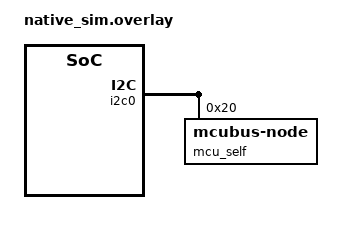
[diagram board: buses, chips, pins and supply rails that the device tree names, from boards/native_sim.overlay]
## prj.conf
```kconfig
# Copyright (c) 2026 Christoph Jans <jans.christoph@gmail.com>
# SPDX-License-Identifier: Apache-2.0

CONFIG_ZTEST=y
CONFIG_I2C=y
CONFIG_FLASH=y
CONFIG_FLASH_MAP=y
CONFIG_NVS=y
CONFIG_SETTINGS=y
CONFIG_SETTINGS_NVS=y
CONFIG_MCUBUS_SETTINGS=y
CONFIG_ZTEST_STACK_SIZE=2048
CONFIG_SYSTEM_WORKQUEUE_STACK_SIZE=2048
```

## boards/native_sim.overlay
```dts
/*
 * Copyright (c) 2026 Christoph Jans <jans.christoph@gmail.com>
 *
 * SPDX-License-Identifier: Apache-2.0
 */

/* One MCU alone on the bus: requests to itself, raw transfers to its own target
 * (the emulated port can address it), and NACKs from an empty address. A bus-id
 * of its own, so that the samples (bus 0 and 1) do not get in the way.
 */

/ {
	chosen {
		zephyr,mcubus-self = &mcu_self;
	};
};

&i2c0 {
	compatible = "zephyr,i2c-mm-emul";
	bus-id = <42>;
	loopback;

	mcu_self: mcu@20 {
		compatible = "zephyr,mcubus-node";
		reg = <0x20>;
	};
};
```

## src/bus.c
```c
/*
 * Copyright (c) 2026 Christoph Jans <jans.christoph@gmail.com>
 *
 * SPDX-License-Identifier: Apache-2.0
 *
 * The mcubus under faults, and its ping service. The emulated port can address
 * its own target (`loopback`), so these tests send raw transfers to this MCU's target, over
 * the bus and through its interrupt: what a broken or foreign controller could
 * send, and what a controller that lost its place leaves behind. A test service
 * counts how often a request really ran; another one echoes what it got.
 */

#include <string.h>
#include <zephyr/drivers/i2c.h>
#include <zephyr/sys/atomic.h>
#include <zephyr/ztest.h>

#include <drivers/i2c/i2c_mm_emul.h>
#include <mcubus/mcubus.h>
#include <mcubus/ping.h>

#define ADDR       DT_REG_ADDR(MCUBUS_SELF)
#define I2C_DEV    DEVICE_DT_GET(DT_BUS(MCUBUS_SELF))
#define EMPTY_ADDR 0x55
#define CMD_COUNT  0x7e /* the test service */
#define CMD_NONE   0x7d /* no service */
#define CMD_ECHO   0x7c /* src, data */
#define CMD_FAIL   0x7b /* answers -BIG_ERRNO */
#define SRC        0x42 /* any sender */
#define BIG_ERRNO  200  /* past 127, as ENOTSUP (134) with picolibc */

static atomic_t runs;

/* The payload of the response is how often it ran, this time included */
static int count(const struct mcubus_req *req, uint8_t *rsp)
{
	rsp[0] = atomic_inc(&runs) + 1;
	return 1;
}

MCUBUS_SERVICE_DEFINE(test_count_service, CMD_COUNT, count);

/* The payload of the response is src, data */
static int echo(const struct mcubus_req *req, uint8_t *rsp)
{
	rsp[0] = req->src;
	memcpy(&rsp[1], req->data, req->len);
	return 1 + req->len;
}

MCUBUS_SERVICE_DEFINE(test_echo_service, CMD_ECHO, echo);

static int fail(const struct mcubus_req *req, uint8_t *rsp)
{
	return -BIG_ERRNO;
}

MCUBUS_SERVICE_DEFINE(test_fail_service, CMD_FAIL, fail);

/* Raw transfers to this MCU's own target, over the bus: the request is cmd, src, flags,
 * data; the response is status, payload
 */
static int request(const uint8_t *req, size_t req_len, uint8_t *rsp, size_t rsp_len)
{
	return i2c_write_read(I2C_DEV, ADDR, req, req_len, rsp, rsp_len);
}

static const uint8_t count_req[] = {CMD_COUNT, SRC, 0};

ZTEST(mcubus_faults, test_request)
{
	atomic_val_t before = atomic_get(&runs);
	uint8_t rsp[2];

	zassert_ok(request(count_req, sizeof(count_req), rsp, sizeof(rsp)));
	zassert_equal(rsp[0], 0);
	zassert_equal(rsp[1], before + 1);
	zassert_equal(atomic_get(&runs), before + 1);
}

/* A read without a request (a bus scan) gets -EINVAL, and does not run the last request */
ZTEST(mcubus_faults, test_read_alone)
{
	uint8_t rsp[2];
	atomic_val_t before;

	zassert_ok(request(count_req, sizeof(count_req), rsp, sizeof(rsp)));
	before = atomic_get(&runs);

	zassert_ok(i2c_read(I2C_DEV, rsp, sizeof(rsp), ADDR));
	zassert_equal(rsp[0], EINVAL);
	zassert_equal(atomic_get(&runs), before, "the last request ran again");
}

/* A request whose controller gave up before the read does not run, not even later */
ZTEST(mcubus_faults, test_write_alone)
{
	atomic_val_t before = atomic_get(&runs);
	uint8_t rsp[2];

	zassert_ok(i2c_write(I2C_DEV, count_req, sizeof(count_req), ADDR));
	zassert_ok(i2c_read(I2C_DEV, rsp, sizeof(rsp), ADDR));
	zassert_equal(rsp[0], EINVAL);
	zassert_equal(atomic_get(&runs), before);
}

/*
 * The controller reads only part of the response (it was reset during the read):
 * the request ran once, and the next one gets its own fresh response
 */
ZTEST(mcubus_faults, test_lost_response)
{
	atomic_val_t before = atomic_get(&runs);
	uint8_t rsp[2];

	zassert_ok(request(count_req, sizeof(count_req), rsp, 1));
	zassert_equal(atomic_get(&runs), before + 1);

	zassert_ok(request(count_req, sizeof(count_req), rsp, sizeof(rsp)));
	zassert_equal(rsp[0], 0);
	zassert_equal(rsp[1], before + 2);
}

/* A request longer than MCUBUS_MSG_MAX is NACKed and not run; the next one works */
ZTEST(mcubus_faults, test_too_long)
{
	uint8_t req[MCUBUS_MSG_MAX + 1] = {CMD_COUNT, SRC, 0};
	atomic_val_t before = atomic_get(&runs);
	uint8_t rsp[2];

	zassert_equal(request(req, sizeof(req), rsp, sizeof(rsp)), -EIO);
	zassert_equal(atomic_get(&runs), before);

	zassert_ok(request(count_req, sizeof(count_req), rsp, sizeof(rsp)));
	zassert_equal(rsp[1], before + 1);
}

ZTEST(mcubus_faults, test_unknown_cmd)
{
	const uint8_t req[] = {CMD_NONE, SRC, 0};
	uint8_t rsp[2];

	zassert_ok(request(req, sizeof(req), rsp, sizeof(rsp)));
	zassert_equal(rsp[0], ENOTSUP);
}

/*
 * An errno past 127 is an error, on the wire and as the result: native_sim's libc
 * has ENOTSUP at 95, Zephyr's (picolibc, minimal) at 134
 */
ZTEST(mcubus_faults, test_big_errno)
{
	const uint8_t req[] = {CMD_FAIL, SRC, 0};
	uint8_t rsp[2];

	zassert_ok(request(req, sizeof(req), rsp, sizeof(rsp)));
	zassert_equal(rsp[0], BIG_ERRNO);
	zassert_equal(mcubus_request(ADDR, CMD_FAIL, NULL, 0, rsp, sizeof(rsp)), -BIG_ERRNO);
}

/* A request without its whole header (cmd, src, flags) is no request */
ZTEST(mcubus_faults, test_short_header)
{
	const uint8_t req[] = {CMD_COUNT, SRC};
	atomic_val_t before = atomic_get(&runs);
	uint8_t rsp[2];

	zassert_ok(request(req, sizeof(req), rsp, sizeof(rsp)));
	zassert_equal(rsp[0], EINVAL);
	zassert_equal(atomic_get(&runs), before);
}

/* The service gets src and data as they were sent, and its payload comes back whole */
ZTEST(mcubus_faults, test_echo)
{
	const uint8_t req[] = {CMD_ECHO, SRC, 0, 1, 2, 3};
	const uint8_t want[] = {0, SRC, 1, 2, 3};
	uint8_t rsp[sizeof(want)];

	zassert_ok(request(req, sizeof(req), rsp, sizeof(rsp)));
	zassert_mem_equal(rsp, want, sizeof(want));
}

/* Flags are reserved: whatever a later version sends there, this one runs the request */
ZTEST(mcubus_faults, test_flags_ignored)
{
	const uint8_t req[] = {CMD_ECHO, SRC, 0xff, 7};
	const uint8_t want[] = {0, SRC, 7};
	uint8_t rsp[sizeof(want)];

	zassert_ok(request(req, sizeof(req), rsp, sizeof(rsp)));
	zassert_mem_equal(rsp, want, sizeof(want));
}

/* mcubus_request() puts this MCU in as src; to itself, past the payload reads as 0xff */
ZTEST(mcubus_faults, test_echo_request)
{
	const uint8_t data[] = {4, 5};
	const uint8_t want[] = {ADDR, 4, 5, 0xff};
	uint8_t rsp[sizeof(want)];

	zassert_ok(mcubus_request(ADDR, CMD_ECHO, data, sizeof(data), rsp, sizeof(rsp)));
	zassert_mem_equal(rsp, want, sizeof(want));
}

/* A target holds SDA low: the driver recovers the bus, and the request gets through */
ZTEST(mcubus_faults, test_stuck_bus)
{
	struct i2c_mm_emul_stats before, after;
	struct mcubus_info info;

	i2c_mm_emul_get_stats(I2C_DEV, &before);
	i2c_mm_emul_stick_bus(I2C_DEV);

	zassert_equal(mcubus_ping(EMPTY_ADDR, &info), -EIO, "not through to the NACK");
	i2c_mm_emul_get_stats(I2C_DEV, &after);
	zassert_equal(after.recoveries, before.recoveries + 1);
}

ZTEST_SUITE(mcubus_faults, NULL, NULL, NULL, NULL, NULL);

ZTEST(mcubus_ping, test_ping)
{
	struct mcubus_info info;

	zassert_ok(mcubus_ping(ADDR, &info));
	zassert_equal(info.version, MCUBUS_PROTOCOL_VERSION);
	zassert_equal(info.msg_max, MCUBUS_MSG_MAX);
}

/* The same over the bus: cmd 0x00, src, flags; response status, version, MCUBUS_MSG_MAX */
ZTEST(mcubus_ping, test_ping_on_the_wire)
{
	const uint8_t req[] = {MCUBUS_PING_CMD, SRC, 0};
	uint8_t rsp[3];

	zassert_ok(request(req, sizeof(req), rsp, sizeof(rsp)));
	zassert_equal(rsp[0], 0);
	zassert_equal(rsp[1], MCUBUS_PROTOCOL_VERSION);
	zassert_equal(rsp[2], MCUBUS_MSG_MAX);
}

ZTEST(mcubus_ping, test_ping_nobody)
{
	struct mcubus_info info;

	zassert_equal(mcubus_ping(EMPTY_ADDR, &info), -EIO);
}

ZTEST_SUITE(mcubus_ping, NULL, NULL, NULL, NULL, NULL);
```

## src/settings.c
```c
/*
 * Copyright (c) 2026 Christoph Jans <jans.christoph@gmail.com>
 *
 * SPDX-License-Identifier: Apache-2.0
 *
 * The settings service of the mcubus, with one MCU on the bus. Requests to the
 * MCU's own address do not go over the bus, so this covers the request handling
 * and the error codes, and the controller side only up to a NACK. Requests between MCUs need
 * several processes: tests/subsys/mcubus/stress and samples/mcubus.
 *
 * Settings of the test, subtree "t":
 *   t/ro   r    4 bytes
 *   t/rw   rw   up to MCUBUS_SETTINGS_VALUE_MAX bytes, stored
 */

#include <string.h>
#include <zephyr/kernel.h>
#include <zephyr/settings/settings.h>
#include <zephyr/spinlock.h>
#include <zephyr/ztest.h>

#include <drivers/i2c/i2c_mm_emul.h>
#include <mcubus/mcubus.h>
#include <mcubus/settings.h>

#define ADDR       DT_REG_ADDR(MCUBUS_SELF)
#define I2C_DEV    DEVICE_DT_GET(DT_BUS(MCUBUS_SELF))
#define EMPTY_ADDR 0x55

static const uint8_t ro[4] = {0xde, 0xad, 0xbe, 0xef};

static struct k_spinlock lock;
static uint8_t rw[MCUBUS_SETTINGS_VALUE_MAX];
static uint8_t rw_len;
static atomic_t exports;

static int t_get(const char *key, char *val, int val_len_max)
{
	int len = -ENOENT;

	K_SPINLOCK(&lock) {
		if (settings_name_steq(key, "ro", NULL)) {
			len = sizeof(ro);
			memcpy(val, ro, MIN(len, val_len_max));
		} else if (settings_name_steq(key, "rw", NULL) && rw_len > 0) {
			len = rw_len;
			memcpy(val, rw, MIN(len, val_len_max));
		}
	}
	return len;
}

static int t_set(const char *key, size_t len, settings_read_cb read_cb, void *cb_arg)
{
	uint8_t data[MCUBUS_SETTINGS_VALUE_MAX];
	ssize_t ret;

	if (settings_name_steq(key, "ro", NULL)) {
		return -EACCES;
	}
	if (!settings_name_steq(key, "rw", NULL)) {
		return -ENOENT;
	}
	if (len == 0 || len > sizeof(data)) {
		return -EINVAL;
	}
	ret = read_cb(cb_arg, data, len);
	if (ret < 0) {
		return ret;
	}
	K_SPINLOCK(&lock) {
		memcpy(rw, data, len);
		rw_len = len;
	}
	return 0;
}

static int t_export(int (*export_func)(const char *name, const void *val, size_t val_len))
{
	uint8_t data[MCUBUS_SETTINGS_VALUE_MAX];
	uint8_t len;

	K_SPINLOCK(&lock) {
		len = rw_len;
		memcpy(data, rw, len);
	}
	atomic_inc(&exports);
	return len > 0 ? export_func("t/rw", data, len) : 0;
}

SETTINGS_STATIC_HANDLER_DEFINE(t, "t", t_get, t_set, NULL, t_export);

ZTEST(mcubus_settings, test_get)
{
	uint8_t val[MCUBUS_SETTINGS_VALUE_MAX];

	zassert_equal(mcubus_settings_get(ADDR, "t/ro", val, sizeof(val)), sizeof(ro));
	zassert_mem_equal(val, ro, sizeof(ro));
}

ZTEST(mcubus_settings, test_get_short_buffer)
{
	uint8_t val[2] = {0};

	/* the whole length, but only what fits */
	zassert_equal(mcubus_settings_get(ADDR, "t/ro", val, sizeof(val)), sizeof(ro));
	zassert_mem_equal(val, ro, sizeof(val));
}

ZTEST(mcubus_settings, test_unknown_key)
{
	uint8_t val[MCUBUS_SETTINGS_VALUE_MAX];

	zassert_equal(mcubus_settings_get(ADDR, "t/nothing", val, sizeof(val)), -ENOENT);
	zassert_equal(mcubus_settings_set(ADDR, "t/nothing", val, 1), -ENOENT);
	/* no handler for the subtree: settings_runtime_get() says -EINVAL */
	zassert_equal(mcubus_settings_get(ADDR, "nosuch/key", val, sizeof(val)), -EINVAL);
}

/* The data of a request is op, key, NUL[, value] */
ZTEST(mcubus_settings, test_bad_request)
{
	const uint8_t bad_op[] = {0x7f, 't', '/', 'r', 'o', '\0'};
	const uint8_t no_nul[] = {MCUBUS_SETTINGS_GET, 't', '/', 'r', 'o'};
	const uint8_t no_key[] = {MCUBUS_SETTINGS_GET, '\0'};
	uint8_t rsp[1];

	zassert_equal(mcubus_request(ADDR, MCUBUS_SETTINGS_CMD, bad_op, sizeof(bad_op), rsp, 1),
		      -ENOTSUP);
	zassert_equal(mcubus_request(ADDR, MCUBUS_SETTINGS_CMD, no_nul, sizeof(no_nul), rsp, 1),
		      -EINVAL);
	zassert_equal(mcubus_request(ADDR, MCUBUS_SETTINGS_CMD, no_key, sizeof(no_key), rsp, 1),
		      -EINVAL);
	zassert_equal(mcubus_request(ADDR, MCUBUS_SETTINGS_CMD, NULL, 0, rsp, 1), -EINVAL);
}

ZTEST(mcubus_settings, test_set_read_only)
{
	uint8_t val = 0;

	zassert_equal(mcubus_settings_set(ADDR, "t/ro", &val, 1), -EACCES);
}

ZTEST(mcubus_settings, test_too_long)
{
	char key[MCUBUS_SETTINGS_KEY_MAX + 1];
	uint8_t val[MCUBUS_SETTINGS_VALUE_MAX + 1] = {0};

	memset(key, 'k', sizeof(key) - 1);
	key[sizeof(key) - 1] = '\0';
	zassert_equal(mcubus_settings_get(ADDR, key, val, 1), -EINVAL);
	zassert_equal(mcubus_settings_set(ADDR, "t/rw", val, sizeof(val)), -EINVAL);
}

/* A SET is stored by a work item: settings_load() brings the value back */
ZTEST(mcubus_settings, test_set_stored)
{
	const uint8_t val[] = {1, 2, 3};
	uint8_t got[MCUBUS_SETTINGS_VALUE_MAX];
	atomic_val_t before = atomic_get(&exports);

	zassert_ok(mcubus_settings_set(ADDR, "t/rw", val, sizeof(val)));
	zassert_equal(mcubus_settings_get(ADDR, "t/rw", got, sizeof(got)), sizeof(val));
	zassert_mem_equal(got, val, sizeof(val));

	zassert_true(WAIT_FOR(atomic_get(&exports) > before, USEC_PER_SEC, k_msleep(1)),
		     "settings not saved");

	K_SPINLOCK(&lock) {
		rw_len = 0;
	}
	zassert_ok(settings_load_subtree("t"));
	zassert_equal(mcubus_settings_get(ADDR, "t/rw", got, sizeof(got)), sizeof(val));
	zassert_mem_equal(got, val, sizeof(val));
}

/* Over the bus, to an address where nobody is */
ZTEST(mcubus_settings, test_nobody_there)
{
	struct i2c_mm_emul_stats before, after;
	struct i2c_mm_stats bus;
	uint8_t val[MCUBUS_SETTINGS_VALUE_MAX];

	i2c_mm_emul_get_stats(I2C_DEV, &before);
	zassert_equal(mcubus_settings_get(EMPTY_ADDR, "t/ro", val, sizeof(val)), -EIO);
	i2c_mm_emul_get_stats(I2C_DEV, &after);
	zassert_equal(after.nacks, before.nacks + 1);
	mcubus_get_stats(&bus);
	zassert_equal(bus.sent, 0);
}

static void *setup(void)
{
	zassert_ok(settings_subsys_init());
	return NULL;
}

ZTEST_SUITE(mcubus_settings, NULL, setup, NULL, NULL, NULL);
```
